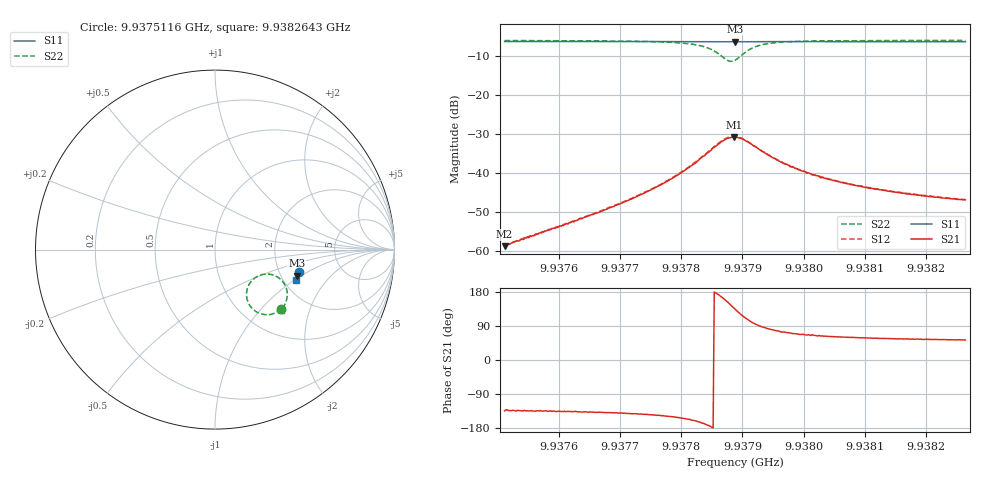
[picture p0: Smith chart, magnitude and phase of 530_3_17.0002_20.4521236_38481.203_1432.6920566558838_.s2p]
#  HZ  S  RI  R  50.00
! Rohde & Schwarz Vector Network Analyzer
! Rohde-Schwarz,ZNB20-2Port,1311601062101988,3.16
! Created: UTC 3/20/2024, 11:15:52 PM
! freq[Hz]  re:S11  im:S11  re:S21  im:S21  re:S12  im:S12  re:S22  im:S22
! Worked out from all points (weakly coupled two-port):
!   401 points, 9.9375116 GHz to 9.9382643 GHz, reference 50 ohm
!   highest |S21| = -30.82 dB at 9.9378861 GHz (marker M1); lowest = -58.8 dB at 9.9375116 GHz (marker M2)
!   lowest |S11| = -6.4 dB at 9.937888 GHz (marker M3), VSWR 2.83, Z = 121 - j45.6 ohm
!   |S11| at or under -10 dB: nowhere
!   |S22| runs from -11.4 to -6.1 dB; largest |S21 - S12| = 0.0013
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9.93751163e9  0.4669 -0.1222  -0.000798 -0.000822  -0.000826 -0.000844  0.3697 -0.3312
9.9376377e9  0.4639 -0.1307  -0.0019 -0.00174  -0.00196 -0.00178  0.3537 -0.343
9.9376678e9  0.4632 -0.1328  -0.00235 -0.00213  -0.00245 -0.00211  0.3481 -0.3467
9.93771673e9  0.462 -0.1361  -0.00356 -0.00286  -0.00363 -0.00286  0.3353 -0.3531
9.93776377e9  0.4606 -0.1394  -0.00566 -0.00383  -0.00581 -0.00378  0.3148 -0.3599
9.93780328e9  0.4594 -0.142  -0.00933 -0.00459  -0.0096 -0.00451  0.2825 -0.3626
9.93782398e9  0.4585 -0.1435  -0.0127 -0.00437  -0.0132 -0.00436  0.2537 -0.3572
9.93784091e9  0.4574 -0.1446  -0.0171 -0.00295  -0.0175 -0.00273  0.221 -0.3401
9.93785408e9  0.4564 -0.1451  -0.0212 0.00019  -0.0218 0.000721  0.1925 -0.309
9.93786726e9  0.4557 -0.1451  -0.0246 0.00657  -0.0249 0.00744  0.1756 -0.2532
9.93787854e9  0.4553 -0.145  -0.0239 0.0145  -0.0241 0.0155  0.1916 -0.1912
9.93788607e9  0.4553 -0.1448  -0.0211 0.0196  -0.0207 0.0205  0.2226 -0.1575
9.93788795e9  0.4552 -0.1448  -0.0201 0.0204  -0.0198 0.0215  0.2323 -0.1511
9.93789736e9  0.4558 -0.1449  -0.0142 0.0238  -0.0134 0.0246  0.2843 -0.1362
9.93791053e9  0.4563 -0.1456  -0.00621 0.0236  -0.00548 0.0241  0.3452 -0.1509
9.93793123e9  0.4568 -0.1474  0.000685 0.0191  0.00116 0.0192  0.3896 -0.1973
9.93796698e9  0.4564 -0.1503  0.00364 0.0127  0.00409 0.0127  0.4026 -0.2529
9.93801402e9  0.4554 -0.1537  0.00368 0.00866  0.00409 0.00853  0.3962 -0.2875
9.93806483e9  0.454 -0.1572  0.0037 0.00645  0.00383 0.00647  0.3881 -0.3063
9.93814009e9  0.4519 -0.1621  0.0032 0.00483  0.00331 0.00482  0.3783 -0.3218
9.93820407e9  0.4502 -0.1664  0.00287 0.00404  0.00302 0.00407  0.3716 -0.3303
9.93826428e9  0.4485 -0.1704  0.00271 0.00359  0.00281 0.00356  0.3662 -0.3367
